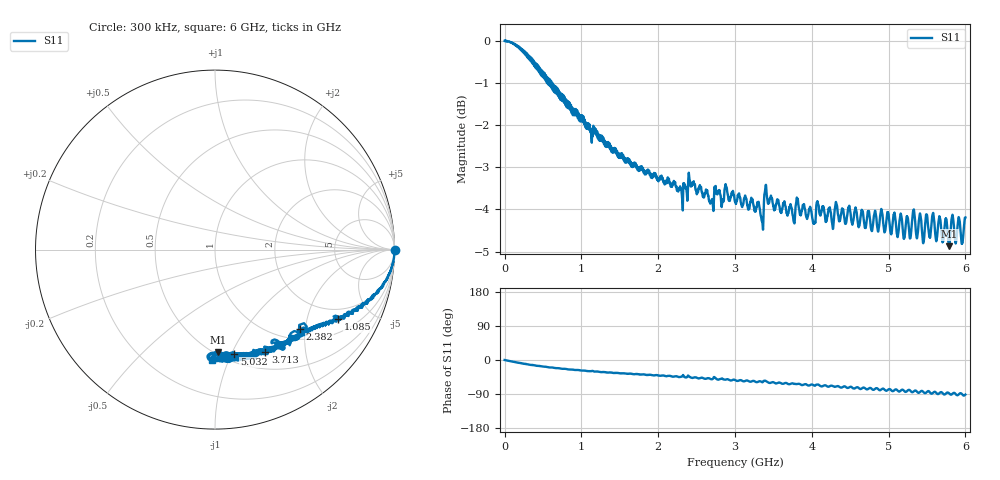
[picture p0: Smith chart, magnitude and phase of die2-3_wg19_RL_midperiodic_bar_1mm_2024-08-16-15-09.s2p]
!Keysight Technologies,P9374A,MY57304198,A.17.20.09
!Date: Friday, August 16, 2024 15:09:31
!Correction: S11(C  1-Port  )
!S21(C  1-Port  )
!S12(Off)
!S22(Off)
!S2P File: Measurements: S11, S21, S12, S22:
# Hz S  dB  R 50
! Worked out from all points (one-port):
!   6000 points, 300 kHz to 6 GHz, reference 50 ohm
!   lowest |S11| = -4.9 dB at 5.789 GHz (marker M1), VSWR 3.66, Z = 26.1 - j44.1 ohm
!   |S11| at or under -10 dB: nowhere
!   S11 on the Smith chart (normalised r, x): 300 kHz: open; 1.085 GHz: 1.54, -3.12; 2.382 GHz: 1.22, -1.87; 3.713 GHz: 0.71, -1.35; 5.032 GHz: 0.57, -1.02; 6 GHz: 0.44, -0.88
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300000  0.00 -0.0  -200.00 45.0  -200.00 45.0  -200.00 45.0
1.863217e8  -0.16 -7.5  -200.00 45.0  -200.00 45.0  -200.00 45.0
4.093477e8  -0.54 -14.7  -200.00 45.0  -200.00 45.0  -200.00 45.0
1.000417e9  -1.90 -27.8  -200.00 45.0  -200.00 45.0  -200.00 45.0
1.085427e9  -2.08 -29.4  -200.00 45.0  -200.00 45.0  -200.00 45.0
2.000533e9  -3.32 -40.6  -200.00 45.0  -200.00 45.0  -200.00 45.0
2.381578e9  -3.76 -43.2  -200.00 45.0  -200.00 45.0  -200.00 45.0
2.441585e9  -3.42 -47.2  -200.00 45.0  -200.00 45.0  -200.00 45.0
2.688614e9  -3.82 -50.6  -200.00 45.0  -200.00 45.0  -200.00 45.0
2.74362e9  -3.52 -46.8  -200.00 45.0  -200.00 45.0  -200.00 45.0
2.777624e9  -3.61 -51.8  -200.00 45.0  -200.00 45.0  -200.00 45.0
3.00065e9  -3.82 -52.6  -200.00 45.0  -200.00 45.0  -200.00 45.0
3.33969e9  -4.17 -57.2  -200.00 45.0  -200.00 45.0  -200.00 45.0
3.398696e9  -3.43 -55.0  -200.00 45.0  -200.00 45.0  -200.00 45.0
3.447702e9  -3.81 -60.6  -200.00 45.0  -200.00 45.0  -200.00 45.0
3.712733e9  -3.94 -63.8  -200.00 45.0  -200.00 45.0  -200.00 45.0
4.000767e9  -4.15 -64.6  -200.00 45.0  -200.00 45.0  -200.00 45.0
5.000883e9  -4.12 -77.4  -200.00 45.0  -200.00 45.0  -200.00 45.0
5.031887e9  -4.58 -79.5  -200.00 45.0  -200.00 45.0  -200.00 45.0
5.323921e9  -4.01 -83.4  -200.00 45.0  -200.00 45.0  -200.00 45.0
5.788975e9  -4.87 -88.3  -200.00 45.0  -200.00 45.0  -200.00 45.0
6e9  -4.19 -91.3  -200.00 45.0  -200.00 45.0  -200.00 45.0
